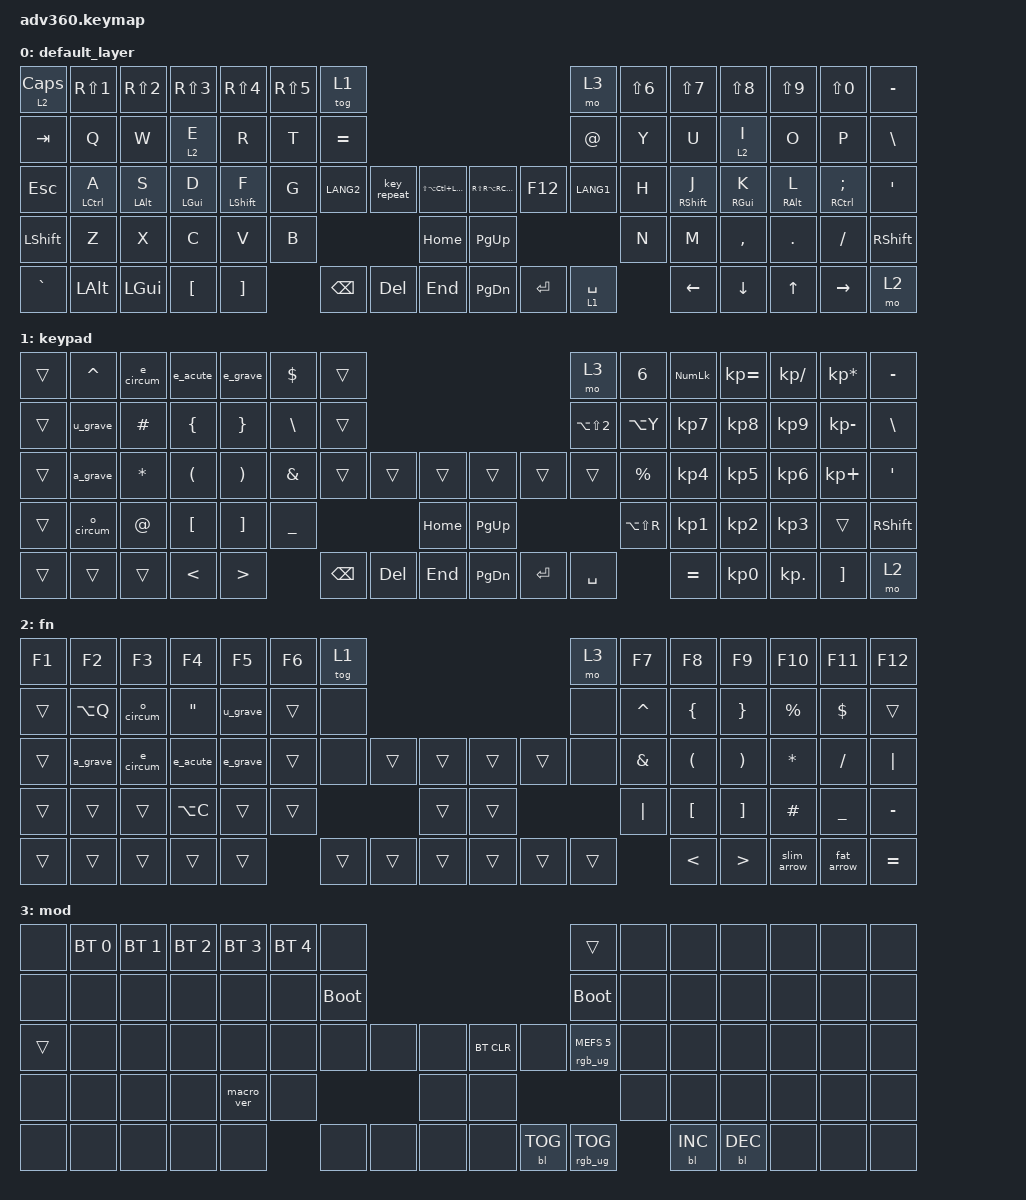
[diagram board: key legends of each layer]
#include <dt-bindings/zmk/mouse.h>      // Added from previous discussion
#include <dt-bindings/zmk/stp.h>        // From base
#include <behaviors.dtsi>
#include <dt-bindings/zmk/backlight.h>
#include <dt-bindings/zmk/bt.h>
#include <dt-bindings/zmk/keys.h>
#include <dt-bindings/zmk/rgb.h>

/ {
    behaviors {
        #include "macros.dtsi"
      #include "version.dtsi"

      // Fallback macro_ver definition from the "new" version
      #ifndef VERSION_MACRO

        macro_ver: macro_ver {
            compatible = "zmk,behavior-macro";
            label = "macro_version_fallback"; // Changed label to distinguish if used
            #binding-cells = <0>;
            bindings = <&kp RET>; // Or your preferred fallback version output
        };

        #endif = // Behaviors from the "new" version;

        e_acute: e_acute {
            compatible = "zmk,behavior-macro";
            #binding-cells = <0>;
            bindings = <&kp LA(E) &kp E>;
            label = "E_ACUTE";
        };

        e_grave: e_grave {
            compatible = "zmk,behavior-macro";
            #binding-cells = <0>;
            bindings = <&kp LA(GRAVE) &kp E>;
            label = "E_GRAVE";
        };

        u_grave: u_grave {
            compatible = "zmk,behavior-macro";
            #binding-cells = <0>;
            bindings = <&kp LA(GRAVE) &kp U>;
            label = "U_GRAVE";
        };

        a_grave: a_grave {
            compatible = "zmk,behavior-macro";
            #binding-cells = <0>;
            bindings = <&kp LA(GRAVE) &kp A>;
            label = "A_GRAVE";
        };

        e_circum: e_circum {
            compatible = "zmk,behavior-macro";
            #binding-cells = <0>;
            bindings = <&kp LA(I) &kp E>;
            label = "E_CIRCUM";
        };

        o_circum: o_circum {
            compatible = "zmk,behavior-macro";
            #binding-cells = <0>;
            bindings = <&kp LA(I) &kp O>;
            label = "O_CIRCUM";
        };

        fat_arrow: fat_arrow {
            compatible = "zmk,behavior-macro";
            #binding-cells = <0>;
            bindings = <&kp EQUAL &kp GREATER_THAN>;
            label = "FAT_ARROW";
        };

        slim_arrow: slim_arrow {
            compatible = "zmk,behavior-macro";
            #binding-cells = <0>;
            bindings = <&kp MINUS &kp GREATER_THAN>;
            label = "SLIM_ARROW";
        };

        hml: homerow_mods_l {
            compatible = "zmk,behavior-hold-tap";
            label = "HOMEROW_MODS_L";
            #binding-cells = <2>;
            tapping-term-ms = <200>;
            quick_tap_ms = <175>;
            flavor = "balanced"; // Or "tap-preferred" if you prefer the base version's "hm"
            bindings = <&kp>, <&kp>;

            hold-trigger-key-positions = <7 8 9 10 11 12 13 21 22 23 24 25 26 27 38 39 40 41 42 43 44 45 54 55 56 57 58 59 69 70 71 72 73 74 75 35 36 37 38 52 53 65 66 69 70 67 68>;
        };

        hmr: homerow_mods_r {
            compatible = "zmk,behavior-hold-tap";
            label = "HOMEROW_MODS_R";
            #binding-cells = <2>;
            tapping-term-ms = <200>;
            quick_tap_ms = <175>;
            flavor = "balanced"; // Or "tap-preferred"
            bindings = <&kp>, <&kp>;

            hold-trigger-key-positions = <0 1 2 3 4 5 6 14 15 16 17 18 19 20 28 29 30 31 32 33 34 35 36 46 47 48 49 50 51 52 60 61 62 63 64 65 66 67 37 38 53 69 70 68>;
        };

        ltr: layer_tap_right {
            compatible = "zmk,behavior-hold-tap";
            label = "LAYER_TAP_RIGHT";
            bindings = <&mo>, <&kp>;

            #binding-cells = <2>;
            tapping-term-ms = <200>;
            flavor = "balanced";
            hold-trigger-key-positions = <0 1 2 3 4 5 6 14 15 16 17 18 19 20 28 29 30 31 32 33 34 35 36 46 47 48 49 50 51 52 60 61 62 63 64 65 66 67 37 38 53 68 69 70>;
            require-prior-idle-ms = <175>;
        };

        ltl: layer_tap_left {
            compatible = "zmk,behavior-hold-tap";
            label = "LAYER_TAP_LEFT";
            bindings = <&mo>, <&kp>;

            #binding-cells = <2>;
            tapping-term-ms = <200>;
            flavor = "balanced";
            hold-trigger-key-positions = <7 8 9 10 11 12 13 21 22 23 24 25 26 27 35 36 37 38 39 40 41 42 43 44 45 52 53 54 55 56 57 58 59 67 68 69 70 71 72 73 74 75 65 66>;
            require-prior-idle-ms = <175>;
        };
    };

    macros {
    };

    keymap {
        compatible = "zmk,keymap";

        default_layer {
            bindings = <
&lt 2 CAPS  &kp RS(N1)    &kp RS(N2)       &kp RS(N3)        &kp RS(N4)         &kp RS(N5)  &tog 1                                                                                      &mo 3        &kp LS(N6)  &kp LS(N7)          &kp LS(N8)        &kp LS(N9)        &kp LS(N0)            &kp MINUS
&kp TAB     &kp Q         &kp W            &ltl 2 E          &kp R              &kp T       &kp EQUAL                                                                                   &kp AT_SIGN  &kp Y       &kp U               &ltr 2 I          &kp O             &kp P                 &kp BSLH
&kp ESC     &hml LCTRL A  &hml LEFT_ALT S  &hml LEFT_GUI D   &hml LEFT_SHIFT F  &kp G       &kp LANG2  &key_repeat  &kp LS(LA(LC(LEFT_GUI)))      &kp RS(RA(RC(RIGHT_GUI)))  &kp F12    &kp LANG1    &kp H       &hmr RIGHT_SHIFT J  &hmr RIGHT_GUI K  &hmr RIGHT_ALT L  &hmr RCTRL SEMICOLON  &kp SQT
&kp LSHFT   &kp Z         &kp X            &kp C             &kp V              &kp B                               &kp HOME                      &kp PG_UP                                          &kp N       &kp M               &kp COMMA         &kp DOT           &kp FSLH              &kp RSHFT
&kp GRAVE   &kp LEFT_ALT  &kp LEFT_GUI     &kp LEFT_BRACKET  &kp RIGHT_BRACKET              &kp BSPC   &kp DEL      &kp END                       &kp PG_DN                  &kp ENTER  &lt 1 SPACE              &kp LEFT            &kp DOWN          &kp UP            &kp RIGHT             &mo 2
            >;
        };

        keypad {
            bindings = <
&trans  &kp CARET  &e_circum     &e_acute              &e_grave           &kp DOLLAR      &trans                                                 &mo 3           &kp N6         &kp KP_NUM  &kp KP_EQUAL     &kp KP_DIVIDE  &kp KP_MULTIPLY  &kp MINUS
&trans  &u_grave   &kp HASH      &kp LEFT_BRACE        &kp RIGHT_BRACE    &kp BACKSLASH   &trans                                                 &kp LA(LS(N2))  &kp LA(Y)      &kp KP_N7   &kp KP_N8        &kp KP_N9      &kp KP_MINUS     &kp BSLH
&trans  &a_grave   &kp ASTERISK  &kp LEFT_PARENTHESIS  &kp RPAR           &kp AMPERSAND   &trans    &trans   &trans        &trans     &trans     &trans          &kp PERCENT    &kp KP_N4   &kp KP_N5        &kp KP_N6      &kp KP_PLUS      &kp SQT
&trans  &o_circum  &kp AT_SIGN   &kp LEFT_BRACKET      &kp RIGHT_BRACKET  &kp UNDERSCORE                     &kp HOME      &kp PG_UP                             &kp LA(LS(R))  &kp KP_N1   &kp KP_N2        &kp KP_N3      &trans           &kp RSHFT
&trans  &trans     &trans        &kp LESS_THAN         &kp GREATER_THAN                   &kp BSPC  &kp DEL  &kp END       &kp PG_DN  &kp ENTER  &kp SPACE                      &kp EQUAL   &kp KP_NUMBER_0  &kp KP_DOT     &kp RBKT         &mo 2
            >;
        };

        fn {
            bindings = <
&kp F1  &kp F2     &kp F3     &kp F4             &kp F5    &kp F6  &tog 1                                      &mo 3   &kp F7         &kp F8                &kp F9                 &kp F10       &kp F11         &kp F12
&trans  &kp LA(Q)  &o_circum  &kp DOUBLE_QUOTES  &u_grave  &trans  &none                                       &none   &kp CARET      &kp LEFT_BRACE        &kp RIGHT_BRACE        &kp PERCENT   &kp DOLLAR      &trans
&trans  &a_grave   &e_circum  &e_acute           &e_grave  &trans  &none   &trans  &trans      &trans  &trans  &none   &kp AMPERSAND  &kp LEFT_PARENTHESIS  &kp RIGHT_PARENTHESIS  &kp ASTERISK  &kp SLASH       &kp PIPE
&trans  &trans     &trans     &kp LA(C)          &trans    &trans                  &trans      &trans                  &kp PIPE       &kp LEFT_BRACKET      &kp RIGHT_BRACKET      &kp POUND     &kp UNDERSCORE  &kp MINUS
&trans  &trans     &trans     &trans             &trans            &trans  &trans  &trans      &trans  &trans  &trans                 &kp LESS_THAN         &kp GREATER_THAN       &slim_arrow   &fat_arrow      &kp EQUAL
            >;
        };

        mod {
            bindings = <
&none   &bt BT_SEL 0  &bt BT_SEL 1  &bt BT_SEL 2  &bt BT_SEL 3  &bt BT_SEL 4  &none                                                  &trans                  &none  &none       &none       &none  &none  &none
&none   &none         &none         &none         &none         &none         &bootloader                                            &bootloader             &none  &none       &none       &none  &none  &none
&trans  &none         &none         &none         &none         &none         &none        &none  &none      &bt BT_CLR  &none       &rgb_ug RGB_MEFS_CMD 5  &none  &none       &none       &none  &none  &none
&none   &none         &none         &none         &macro_ver    &none                             &none      &none                                           &none  &none       &none       &none  &none  &none
&none   &none         &none         &none         &none                       &none        &none  &none      &none       &bl BL_TOG  &rgb_ug RGB_TOG                &bl BL_INC  &bl BL_DEC  &none  &none  &none
            >;
        };

        // Extra layers from the base version

        extra1 {
            display-name = "Red";
            status = "reserved";
        };

        extra2 {
            display-name = "Purple";
            status = "reserved";
        };

        extra3 {
            display-name = "Cyan";
            status = "reserved";
        };

        extra4 {
            display-name = "Yellow";
            status = "reserved";
        };
    };
};
